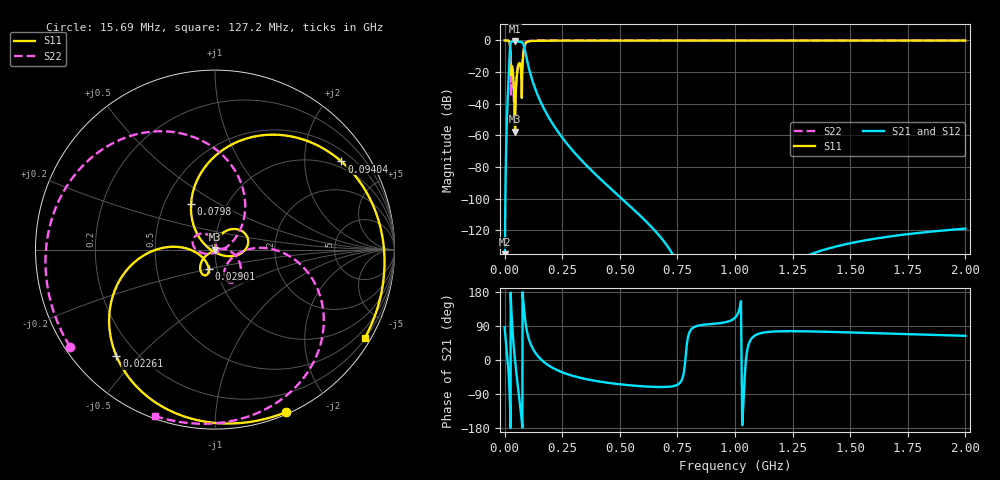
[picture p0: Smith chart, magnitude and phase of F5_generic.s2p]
! Created with skrf 2.2.0 (http://scikit-rf.org).
# MHz S RI R 50.0
! Port[1] = P1
! Port[2] = P2
!freq ReS11 ImS11 ReS21 ImS21 ReS12 ImS12 ReS22 ImS22
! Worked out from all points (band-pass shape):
!   2001 points, 50 kHz to 2 GHz, reference 50 ohm
!   highest |S21| = -0.57 dB at 44.32 MHz (marker M1); lowest = -198.8 dB at 336.8 kHz (marker M2)
!   |S21| within 3 dB of the highest: 24.15 MHz to 84.1 MHz (59.96 MHz wide, 111 % of centre)
!   lowest |S11| = -57.7 dB at 45.51 MHz (marker M3), VSWR 1.00, Z = 50.1 - j0.0422 ohm
!   |S11| at or under -10 dB: 25.63 MHz to 80.23 MHz (54.61 MHz wide, 103 % of centre)
!   |S22| runs from -50.5 to 0.0 dB; largest |S21 - S12| = 1.7e-15
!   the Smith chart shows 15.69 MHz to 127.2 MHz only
!   S11 on the Smith chart (normalised r, x): 15.69 MHz: 0.02, -1.52; 22.61 MHz: 0.13, -0.43; 29.01 MHz: 0.91, -0.20; 79.8 MHz: 0.68, +0.38; 94.04 MHz: 0.80, +2.99; 127.2 MHz: 0.22, -3.65
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0.05  1 -0.00314  4.89e-16 8.29e-15  4.89e-16 8.29e-15  1 -0.00867
0.2934364  0.9998 -0.0184  5.06e-12 5.76e-11  5.06e-12 5.76e-11  0.9987 -0.0509
0.3367757  0.9998 -0.0212  1.07e-11 1.15e-10  1.07e-11 1.15e-10  0.9982 -0.0584
1.712999  0.9941 -0.1076  9.92e-08 3.8e-07  9.92e-08 3.8e-07  0.956 -0.2921
5.102338  0.947 -0.3193  5.71e-05 7.43e-05  5.71e-05 7.43e-05  0.642 -0.7642
10  0.7843 -0.6163  0.00277 0.000989  0.00277 0.000989  -0.0872 -0.9876
15.68872  0.3935 -0.9067  0.0337 -0.0131  0.0337 -0.0131  -0.8081 -0.54
19.59886  -0.0929 -0.9515  0.0821 -0.1315  0.0821 -0.1315  -0.9194 0.1341
22.61302  -0.5489 -0.5938  -0.0961 -0.4306  -0.0961 -0.4306  -0.4285 0.6449
26.09074  -0.2367 0.0159  -0.8534 -0.049  -0.8534 -0.049  0.1516 0.1386
29.00728  -0.0349 -0.1102  -0.6477 0.6382  -0.6477 0.6382  -0.0875 -0.0127
34.91749  -0.0804 -0.0827  0.2609 0.8882  0.2609 0.8882  -0.0441 0.0844
44.31895  -0.00054 -0.00517  0.9329 0.0837  0.9329 0.0837  0.00205 -0.00328
45.50872  0.00123 -0.000421  0.9358 -0.0369  0.9358 -0.0369  0.0047 -0.0016
58.68728  0.1012 0.1147  0.2305 -0.8874  0.2305 -0.8874  0.1419 -0.0891
73.70353  0.0299 -0.0284  -0.8121 -0.3776  -0.8121 -0.3776  0.0668 -0.0813
79.80016  -0.1334 0.2559  -0.785 0.2176  -0.785 0.2176  0.3245 0.00101
94.045  0.7043 0.491  0.0249 0.3073  0.0249 0.3073  0.4516 -0.7634
127.2021  0.8344 -0.493  0.0351 0.0164  0.0351 0.0164  -0.3318 -0.9281
194.3465  0.1588 -0.9731  0.0033 -0.000922  0.0033 -0.000922  -0.7528 -0.6509
342.5997  -0.6029 -0.7859  9.18e-05 -0.000106  9.18e-05 -0.000106  -0.9339 -0.3499
2000  -0.7119 0.6922  5.02e-07 1.02e-06  5.02e-07 1.02e-06  -0.9814 0.1813
